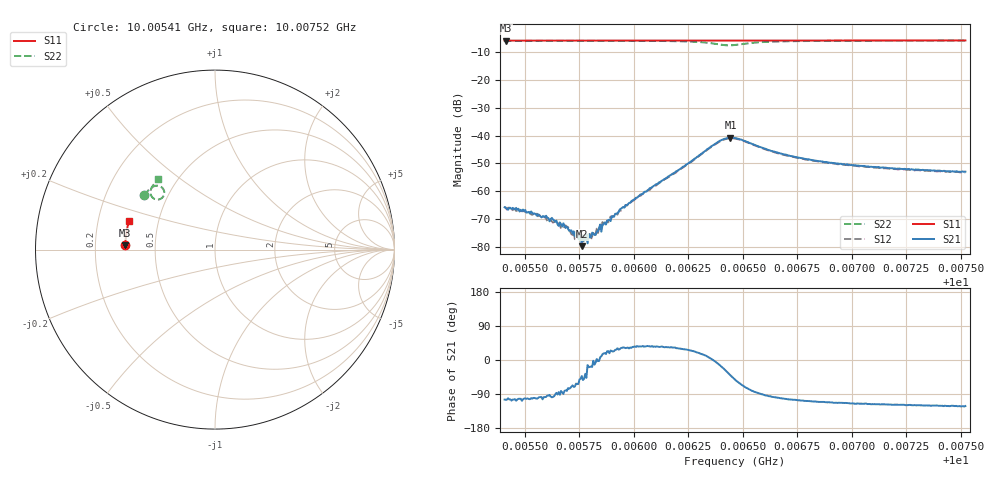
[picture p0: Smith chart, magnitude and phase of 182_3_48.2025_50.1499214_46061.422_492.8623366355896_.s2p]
#  HZ  S  RI  R  50.00
! Rohde & Schwarz Vector Network Analyzer
! Rohde-Schwarz,ZNB20-2Port,1311601062101988,3.16
! Created: UTC 3/20/2024, 11:44:11 AM
! freq[Hz]  re:S11  im:S11  re:S21  im:S21  re:S12  im:S12  re:S22  im:S22
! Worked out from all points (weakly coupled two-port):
!   401 points, 10.00541 GHz to 10.00752 GHz, reference 50 ohm
!   highest |S21| = -40.79 dB at 10.00644 GHz (marker M1); lowest = -79.7 dB at 10.00576 GHz (marker M2)
!   lowest |S11| = -6.0 dB at 10.00541 GHz (marker M3), VSWR 3.00, Z = 16.7 + j1.08 ohm
!   |S11| at or under -10 dB: nowhere
!   |S22| runs from -7.7 to -6.0 dB; largest |S21 - S12| = 0.00054
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1.0005407e10  -0.4998 0.024  -0.000131 -0.000502  -0.000117 -0.000504  -0.3936 0.302
1.0005413e10  -0.4998 0.0243  -0.00013 -0.000491  -8.58e-05 -0.000502  -0.3934 0.3024
1.0005508e10  -0.4997 0.0306  -9.01e-05 -0.000406  -5.21e-05 -0.000439  -0.3894 0.308
1.0005577e10  -0.4995 0.0351  -4.61e-05 -0.000338  -3.04e-05 -0.000366  -0.3863 0.3121
1.0005635e10  -0.4995 0.0389  -2.89e-05 -0.000302  -1.69e-05 -0.000282  -0.3835 0.3157
1.0005661e10  -0.4993 0.0405  -7.68e-06 -0.000277  7.88e-06 -0.000254  -0.3825 0.3173
1.0005672e10  -0.4992 0.0413  1.71e-05 -0.000234  1.65e-05 -0.000224  -0.3819 0.3179
1.0005693e10  -0.4991 0.0426  3.33e-05 -0.00023  3.95e-05 -0.000229  -0.3809 0.3192
1.0005725e10  -0.499 0.0448  6.32e-05 -0.000181  6.08e-05 -0.000181  -0.3793 0.3213
1.0005762e10  -0.4989 0.0471  7.71e-05 -7e-05  9.61e-05 -0.000105  -0.3773 0.3235
1.0005814e10  -0.4986 0.0506  0.000173 -6.14e-06  0.000191 -2.86e-05  -0.3742 0.3269
1.0005867e10  -0.4982 0.054  0.000264 8.67e-05  0.000251 9.1e-05  -0.371 0.3303
1.0005941e10  -0.4981 0.0588  0.000413 0.000256  0.000381 0.000243  -0.3663 0.3352
1.0006116e10  -0.4968 0.0701  0.00119 0.000821  0.0011 0.000864  -0.3508 0.3477
1.0006301e10  -0.495 0.082  0.00422 0.00139  0.00405 0.00155  -0.3131 0.3549
1.0006385e10  -0.494 0.0874  0.00755 -0.00122  0.0074 -0.000819  -0.2838 0.3269
1.0006443e10  -0.4934 0.0905  0.00696 -0.00591  0.0071 -0.00539  -0.2972 0.2866
1.0006464e10  -0.4933 0.0917  0.00558 -0.00705  0.00582 -0.00661  -0.3119 0.2796
1.000666e10  -0.4919 0.1042  -0.000811 -0.00485  -0.000589 -0.0048  -0.3593 0.3241
1.0006819e10  -0.4901 0.1144  -0.00118 -0.00343  -0.00102 -0.00342  -0.3525 0.3459
1.0007173e10  -0.4851 0.1368  -0.0012 -0.00231  -0.00108 -0.0023  -0.3335 0.3721
1.0007522e10  -0.4792 0.1583  -0.00117 -0.00192  -0.0011 -0.00189  -0.3155 0.3907
